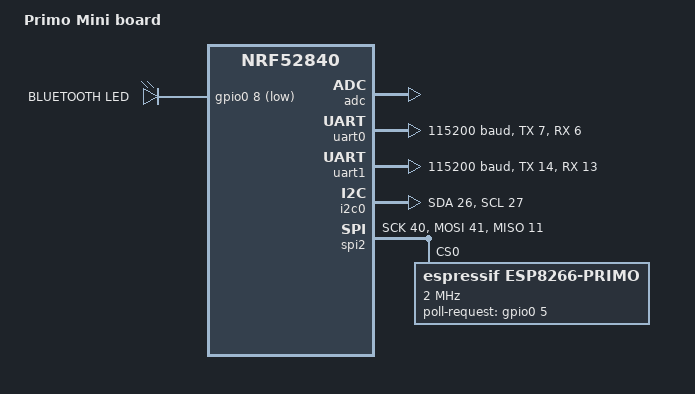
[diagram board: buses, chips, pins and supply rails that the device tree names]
/*
 * Copyright (c) 2017 Shawn Nock <shawn@monadnock.ca>
 * Copyright (c) 2017 Linaro Limited
 * Copyright (c) 2018 dog hunter LLC and the Linino community
 *
 * Linino.org is a dog hunter sponsored community project
 *
 * This file comes from nrf52_pca10040.dts and was modified by
 * Davide Ciminaghi <davide@linino.org> and Jeff Wu <jeff@doghunter.org>
 *
 * SPDX-License-Identifier: Apache-2.0
 */

/dts-v1/;
#include <nordic/nrf52840_qiaa.dtsi>

/ {
	model = "Primo Mini board";
	compatible = "doghunter,primo-mini", "nordic,nrf52840-qiaa",
		     "nordic,nrf52840";

	chosen {
		zephyr,console = &uart0;
#ifdef CONFIG_MCUMGR_SMP_UART
		zephyr,uart-mcumgr = &uart0;
#endif
		zephyr,sram = &sram0;
		zephyr,flash = &flash0;
	};

	leds {
		compatible = "gpio-leds";
		led0: led_0 {
			gpios = <&gpio0 8 GPIO_INT_ACTIVE_LOW>;
			label = "BLUETOOTH LED";
		};
	};

	/* These aliases are provided for compatibility with samples */
	aliases {
		led0 = &led0;
	};
};

&adc {
	status ="ok";
};

&gpiote {
	status ="ok";
};

&gpio0 {
	status ="ok";
};

&uart0 {
	status = "ok";
	compatible = "nordic,nrf-uart";
	current-speed = <115200>;
	/* nRF52_TX1 */
	tx-pin = <7>;
	/* nRF52_RX1 */
	rx-pin = <6>;
};

&uart1 {
	status = "ok";
	compatible = "nordic,nrf-uart";
	current-speed = <115200>;
	/* nRF52_TX2 */
	tx-pin = <14>;
	/* nRF52_RX2 */
	rx-pin = <13>;
};

&i2c0 {
	status = "ok";
	/* nRF52_SDA */
	sda-pin = <26>;
	/* nRF52_SCL */
	scl-pin = <27>;
};

&i2c1 {
	status = "disabled";
};

/*
 * CS -> ESP_GPIO15 -> NSS_nRF -> P0.12
 * MOSI -> ESP_GPIO12 -> MOSI_nRF -> P1.09
 * MISO -> ESP_GPIO13 -> MISO_nRF -> P0.11
 * CLK -> ESP_GPIO14 -> SCK_nRF -> P1.08
*/
&spi2 {
	status = "ok";
	csn-pin = <12>;
	mosi-pin = <41>;
	miso-pin = <11>;
	sck-pin = <40>;

	wifi0: esp8266-primo@0 {
		compatible = "espressif,esp8266-primo";
		spi-max-frequency = <2000000>;
		reg = <0>;
		/*
		 * nRF52_RX2 used as an output for requesting polling from
		 * esp8266
		 */
		poll-request-gpios = <&gpio0 5 0>;
		label = "ESP8266-PRIMO";
	};
};


&flash0 {
	/*
	 * For more information, see:
	 * http://docs.zephyrproject.org/latest/devices/dts/flash_partitions.html
	*/
	partitions {
                compatible = "fixed-partitions";
                #address-cells = <1>;
                #size-cells = <1>;

                boot_partition: partition@0 {
                        label = "mcuboot";
                        reg = <0x000000000 0x0000C000>;
                };
                slot0_partition: partition@c000 {
                        label = "image-0";
                        reg = <0x0000C000 0x000069000>;
                };
                slot1_partition: partition@75000 {
                        label = "image-1";
                        reg = <0x00075000 0x000069000>;
                };
                scratch_partition: partition@de000 {
                        label = "image-scratch";
                        reg = <0x000de000 0x0001e000>;
                };
#if defined(CONFIG_FS_FLASH_STORAGE_PARTITION)
		storage_partition: partition@fc000 {
			label = "storage";
			reg = <0x000fc000 0x00004000>;
		};
#endif
	};
};
